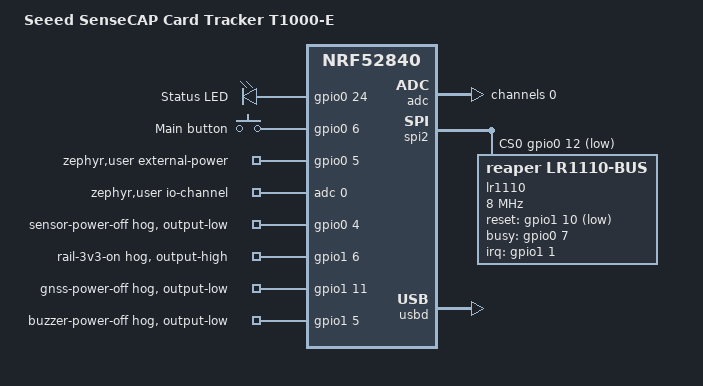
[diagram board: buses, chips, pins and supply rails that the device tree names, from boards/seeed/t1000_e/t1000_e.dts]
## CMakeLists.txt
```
# Zephyr application for the Seeed SenseCAP T1000-E (nRF52840, LR1110), decision D57. It builds the
# portable components and the shared mesh service from firmware/, with T1000-E adapters in src/.
cmake_minimum_required(VERSION 3.20.0)
list(APPEND BOARD_ROOT ${CMAKE_CURRENT_LIST_DIR})
set(BOARD t1000_e)
find_package(Zephyr REQUIRED HINTS $ENV{ZEPHYR_BASE})
project(reaper_t1000_e LANGUAGES C CXX)

set(fw ${CMAKE_CURRENT_LIST_DIR}/..)
set(components ${fw}/components)
target_compile_definitions(app PRIVATE REAPER_T1000_E=1 LR11XX_DISABLE_WARNINGS)
# tools/build-firmware.sh sets this for the desk relay test build only.
if(REAPER_TEST_RELAYED_ONLY)
  target_compile_definitions(app PRIVATE REAPER_TEST_RELAYED_ONLY=1)
endif()
target_sources(app PRIVATE
  src/main.cpp src/t1000e_radio_bus.cpp src/flash_storage.cpp src/key_area.cpp src/board_io.cpp
  src/usb_serial.cpp src/ble_link.cpp src/ble_gatt.c
  ${fw}/app/mesh_service.cpp ${fw}/app/device_ui.cpp
  ${components}/reaper_protocol/protocol.cpp
  ${components}/reaper_device/discovery.cpp ${components}/reaper_device/configuration.cpp
  ${components}/reaper_device/session.cpp ${components}/reaper_device/messages.cpp
  ${components}/reaper_device/inbox.cpp ${components}/reaper_device/host_links.cpp
  ${components}/reaper_device/network.cpp
  ${components}/reaper_mesh/radio_packet.cpp ${components}/reaper_mesh/frame.cpp
  ${components}/reaper_mesh/mesh.cpp ${components}/reaper_mesh/regional.cpp
  ${components}/reaper_radio/lr1110.cpp ${components}/reaper_radio/lr11xx_hal.cpp
  ${components}/reaper_radio/lr11xx/lr11xx_radio.c ${components}/reaper_radio/lr11xx/lr11xx_system.c
  ${components}/reaper_radio/lr11xx/lr11xx_regmem.c
  ${components}/reaper_crypto/crypto_psa.cpp)
target_include_directories(app PRIVATE
  src ${fw}/app
  ${components}/reaper_protocol/include ${components}/reaper_device/include
  ${components}/reaper_mesh/include ${components}/reaper_radio/include
  ${components}/reaper_radio/lr11xx ${components}/reaper_crypto/include)
```

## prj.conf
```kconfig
# Reaper Mesh on the T1000-E. Nothing here logs or prints: USB carries only the host protocol.
CONFIG_CPP=y
CONFIG_STD_CPP17=y
CONFIG_REQUIRES_FULL_LIBCPP=y
CONFIG_MAIN_STACK_SIZE=24576

# USB: one CDC ACM port for the agent, plus the 1200-baud bootloader request.
CONFIG_SERIAL=y
CONFIG_UART_INTERRUPT_DRIVEN=y
CONFIG_UART_LINE_CTRL=y
CONFIG_USB_DEVICE_STACK_NEXT=y
CONFIG_USBD_CDC_ACM_CLASS=y
CONFIG_CDC_ACM_SERIAL_INITIALIZE_AT_BOOT=y
CONFIG_CDC_ACM_SERIAL_MANUFACTURER_STRING="Reaper Mesh"
CONFIG_CDC_ACM_SERIAL_PRODUCT_STRING="Reaper Mesh T1000-E"
CONFIG_CONSOLE=n
CONFIG_UART_CONSOLE=n
CONFIG_LOG=n

# Board hardware.
CONFIG_SPI=y
CONFIG_ADC=y
CONFIG_GPIO_HOGS=y
CONFIG_HWINFO=y
CONFIG_ENTROPY_GENERATOR=y
CONFIG_REBOOT=y

# Storage: settings in NVS, the key record in its own area. The key record is not a whole number
# of 32-bit words.
CONFIG_FLASH=y
CONFIG_FLASH_MAP=y
CONFIG_FLASH_PAGE_LAYOUT=y
CONFIG_NVS=y
CONFIG_SOC_FLASH_NRF_EMULATE_ONE_BYTE_WRITE_ACCESS=y

# Frame encryption through PSA Crypto (components/reaper_crypto/crypto_psa.cpp).
CONFIG_PSA_CRYPTO=y
CONFIG_PSA_WANT_ALG_CCM=y
CONFIG_PSA_WANT_ALG_HMAC=y
CONFIG_PSA_WANT_ALG_SHA_256=y
CONFIG_PSA_WANT_KEY_TYPE_AES=y
CONFIG_PSA_WANT_KEY_TYPE_HMAC=y

# Free heap and stack headroom for the portal debug view.
CONFIG_SYS_HEAP_RUNTIME_STATS=y
CONFIG_INIT_STACKS=y
CONFIG_THREAD_STACK_INFO=y

# Bluetooth (D47): one bonded, passkey-authenticated phone at a time, Secure Connections only.
# The T1000-E has no screen; the portal shows the passkey over USB.
CONFIG_BT=y
CONFIG_BT_PERIPHERAL=y
CONFIG_BT_DEVICE_NAME="Reaper"
CONFIG_BT_MAX_CONN=1
CONFIG_BT_ID_MAX=2
CONFIG_BT_SMP=y
CONFIG_BT_SMP_SC_ONLY=y
CONFIG_BT_SMP_ENFORCE_MITM=y
CONFIG_BT_SMP_APP_PAIRING_ACCEPT=y
CONFIG_BT_APP_PASSKEY=y
CONFIG_BT_BONDABLE=y
CONFIG_BT_MAX_PAIRED=4
CONFIG_BT_KEYS_OVERWRITE_OLDEST=n
CONFIG_BT_SETTINGS=y
CONFIG_SETTINGS=y
CONFIG_SETTINGS_NVS=y
CONFIG_BT_L2CAP_TX_MTU=247
CONFIG_BT_BUF_ACL_RX_SIZE=251
CONFIG_BT_BUF_ACL_TX_SIZE=251
CONFIG_BT_CTLR_DATA_LENGTH_MAX=251
CONFIG_BT_GATT_CLIENT=n
# LE Secure Connections pairing runs P-256 ECDH and AES-CMAC (PSA Crypto) on the Bluetooth work
# queues. Zephyr's default stacks (1,200 and 1,400 bytes) overflow during pairing, which halted the
# board. These sizes paired a phone on the T1000-E (November 17, 2026).
CONFIG_BT_RX_STACK_SIZE=6144
CONFIG_BT_LONG_WQ_STACK_SIZE=6144
CONFIG_SYSTEM_WORKQUEUE_STACK_SIZE=4096

# Any fatal error restarts the board instead of halting it until someone resets it.
CONFIG_RESET_ON_FATAL_ERROR=y
```

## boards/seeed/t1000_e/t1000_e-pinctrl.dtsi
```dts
/* SPI to the LR1110: SCK P0.11, MOSI P1.09, MISO P1.08. */
&pinctrl {
	spi2_default: spi2_default {
		group1 {
			psels = <NRF_PSEL(SPIM_SCK, 0, 11)>,
				<NRF_PSEL(SPIM_MOSI, 1, 9)>,
				<NRF_PSEL(SPIM_MISO, 1, 8)>;
		};
	};

	spi2_sleep: spi2_sleep {
		group1 {
			psels = <NRF_PSEL(SPIM_SCK, 0, 11)>,
				<NRF_PSEL(SPIM_MOSI, 1, 9)>,
				<NRF_PSEL(SPIM_MISO, 1, 8)>;
			low-power-enable;
		};
	};
};
```

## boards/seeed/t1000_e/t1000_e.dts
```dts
/*
 * Seeed SenseCAP Card Tracker T1000-E: nRF52840 with a Semtech LR1110, the factory Adafruit nRF52
 * UF2 bootloader and SoftDevice S140 v7. Pins follow Seeed's T1000-E reference firmware; see
 * docs/guides/hardware.md. GNSS, the accelerometer, the light and temperature sensors and the
 * buzzer are not used, and their power stays off.
 */

/dts-v1/;
#include <nordic/nrf52840_qiaa.dtsi>
#include <zephyr/dt-bindings/adc/nrf-saadc.h>
#include "t1000_e-pinctrl.dtsi"

/ {
	model = "Seeed SenseCAP Card Tracker T1000-E";
	compatible = "seeed,t1000-e";

	chosen {
		zephyr,sram = &sram0;
		zephyr,flash = &flash0;
		zephyr,code-partition = &code_partition;
	};

	leds {
		compatible = "gpio-leds";

		led0: led_0 {
			gpios = <&gpio0 24 GPIO_ACTIVE_HIGH>;
			label = "Status LED";
		};
	};

	buttons {
		compatible = "gpio-keys";

		button0: button_0 {
			gpios = <&gpio0 6 (GPIO_PULL_DOWN | GPIO_ACTIVE_HIGH)>;
			label = "Main button";
			zephyr,code = <INPUT_KEY_0>;
		};
	};

	/* Board signals read by the firmware. */
	zephyr,user {
		/* Battery: P0.02 (AIN0) behind a 2:1 divider. */
		io-channels = <&adc 0>;
		/* High while USB power is present. */
		external-power-gpios = <&gpio0 5 GPIO_ACTIVE_HIGH>;
	};

	aliases {
		led0 = &led0;
		sw0 = &button0;
	};
};

&gpiote {
	status = "okay";
};

&gpio0 {
	status = "okay";

	/* Sensor rail off: the light and temperature sensors are not used. */
	sensor-power-off {
		gpio-hog;
		gpios = <4 GPIO_ACTIVE_HIGH>;
		output-low;
	};
};

&gpio1 {
	status = "okay";

	/* The board's 3.3 V rail on, as Seeed's and RIOT's board code do at boot. */
	rail-3v3-on {
		gpio-hog;
		gpios = <6 GPIO_ACTIVE_HIGH>;
		output-high;
	};

	/* GNSS power off: GPS is deferred (see AI.md). */
	gnss-power-off {
		gpio-hog;
		gpios = <11 GPIO_ACTIVE_HIGH>;
		output-low;
	};

	/* Buzzer power off. */
	buzzer-power-off {
		gpio-hog;
		gpios = <5 GPIO_ACTIVE_HIGH>;
		output-low;
	};
};

&adc {
	status = "okay";
	#address-cells = <1>;
	#size-cells = <0>;

	channel@0 {
		reg = <0>;
		zephyr,gain = "ADC_GAIN_1_6";
		zephyr,reference = "ADC_REF_INTERNAL";
		zephyr,vref-mv = <600>;
		zephyr,acquisition-time = <ADC_ACQ_TIME(ADC_ACQ_TIME_MICROSECONDS, 40)>;
		zephyr,input-positive = <NRF_SAADC_AIN0>;
		zephyr,resolution = <12>;
	};
};

&spi2 {
	compatible = "nordic,nrf-spim";
	status = "okay";
	cs-gpios = <&gpio0 12 GPIO_ACTIVE_LOW>;
	pinctrl-0 = <&spi2_default>;
	pinctrl-1 = <&spi2_sleep>;
	pinctrl-names = "default", "sleep";

	lr1110: lr1110@0 {
		compatible = "reaper,lr1110-bus";
		reg = <0>;
		spi-max-frequency = <DT_FREQ_M(8)>;
		reset-gpios = <&gpio1 10 GPIO_ACTIVE_LOW>;
		busy-gpios = <&gpio0 7 GPIO_ACTIVE_HIGH>;
		irq-gpios = <&gpio1 1 GPIO_ACTIVE_HIGH>;
	};
};

&flash0 {
	/*
	 * 0x00000 SoftDevice S140 v7, kept for the bootloader      (156 KB)
	 * 0x27000 Reaper Mesh application                           (748 KB)
	 * 0xe2000 reaper_nvs: settings and the boot counter          (16 KB)
	 * 0xe6000 reaper_keys: the network key record, 2 sectors      (8 KB)
	 * 0xe8000 storage: Bluetooth bonds and identity               (8 KB)
	 * 0xea000 left alone: the bootloader reserves it for app data (40 KB)
	 * 0xf4000 UF2 bootloader                                      (48 KB)
	 *
	 * The bootloader's serial update erases only the pages the new image needs, from 0x27000, so
	 * the data areas survive updates. A first install sends an image padded with 0xff up to
	 * 0xea000 instead, which blanks them; nothing above 0xea000 can be written that way.
	 */
	partitions {
		ranges;
		#address-cells = <1>;
		#size-cells = <1>;

		softdevice_partition: partition@0 {
			compatible = "zephyr,mapped-partition";
			label = "softdevice";
			reg = <0x00000000 0x00027000>;
			read-only;
		};

		code_partition: partition@27000 {
			compatible = "zephyr,mapped-partition";
			label = "code";
			reg = <0x00027000 0x000bb000>;
		};

		reaper_nvs_partition: partition@e2000 {
			compatible = "zephyr,mapped-partition";
			label = "reaper_nvs";
			reg = <0x000e2000 0x00004000>;
		};

		reaper_keys_partition: partition@e6000 {
			compatible = "zephyr,mapped-partition";
			label = "reaper_keys";
			reg = <0x000e6000 0x00002000>;
		};

		storage_partition: partition@e8000 {
			compatible = "zephyr,mapped-partition";
			label = "storage";
			reg = <0x000e8000 0x00002000>;
		};

		boot_partition: partition@f4000 {
			compatible = "zephyr,mapped-partition";
			label = "uf2";
			reg = <0x000f4000 0x0000c000>;
			read-only;
		};
	};
};

zephyr_udc0: &usbd {
	compatible = "nordic,nrf-usbd";
	status = "okay";

	cdc_acm_uart: cdc_acm_uart {
		compatible = "zephyr,cdc-acm-uart";
	};
};
```

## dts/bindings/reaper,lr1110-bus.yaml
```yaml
description: |
  SPI link to a Semtech LR1110 for Reaper Mesh's own driver (firmware/components/reaper_radio).
  It is not Zephyr's LoRa driver; only the wiring is described here.

compatible: 'reaper,lr1110-bus'

include: spi-device.yaml

properties:
  reset-gpios:
    type: phandle-array
    required: true
  busy-gpios:
    type: phandle-array
    required: true
  irq-gpios:
    type: phandle-array
    required: true
```

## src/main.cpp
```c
// T1000-E entry point (D57): the same session, host links and mesh service as the ESP boards,
// on Zephyr. There is no screen; the LED, the button gestures and the portal show the state.
#include "ble_link.hpp"
#include "board_input.hpp"
#include "board_led.hpp"
#include "board_power.hpp"
#include "device_ui.hpp"
#include "flash_storage.hpp"
#include "key_area.hpp"
#include "mesh_service.hpp"
#include "reaper/host_links.hpp"
#include "reaper/session.hpp"
#include "usb_serial.hpp"
#include <zephyr/drivers/entropy.h>
#include <zephyr/drivers/hwinfo.h>
#include <zephyr/kernel.h>
#include <zephyr/sys/reboot.h>
#include <zephyr/sys/sys_heap.h>
#include <hal/nrf_power.h>
#include <array>
#include <cstdio>
#include <cstring>

// Zephyr's libc heap statistics (lib/libc/common); it has no public header.
extern "C" int malloc_runtime_stats_get(sys_memory_stats* stats);

namespace d = reaper::device;
// If the main loop stops for 30 seconds, a timer interrupt restarts the board, like the ESP boards'
// watchdog. Nothing in the loop should wait that long; this keeps a fault from leaving the T1000-E
// unreachable until someone resets it.
namespace {
volatile std::uint32_t heartbeat = 0;
void check_loop(k_timer*) {
  static std::uint32_t last = 0, stalled = 0;
  if (heartbeat != last) {
    last = heartbeat;
    stalled = 0;
  } else if (++stalled >= 30) {
    sys_reboot(SYS_REBOOT_COLD);
  }
}
K_TIMER_DEFINE(loop_timer, check_loop, nullptr);
}  // namespace
namespace {
UsbSerial usb;
BleLink ble;
bool write_link(d::HostLink link, const std::uint8_t* data, std::size_t size, void*) {
  return link == d::HostLink::Ble ? ble.write(data, size) : usb.write(data, size);
}
std::uint64_t now_ms() {
  return static_cast<std::uint64_t>(k_uptime_get());
}
[[noreturn]] void halt() {
  for (;;)
    k_sleep(K_SECONDS(1));
}
// The Adafruit nRF52 bootloader starts its serial DFU mode after a reset with this retained value.
// That is what the browser installer talks to, and what other nRF52 firmware's 1200-baud reset
// opens, so the installer works the same whatever the T1000-E was running.
[[noreturn]] void enter_bootloader() {
  nrf_power_gpregret_set(NRF_POWER, 0, 0x4e);
  sys_reboot(SYS_REBOOT_COLD);
  halt();
}
bool random_bytes(std::uint8_t* out, std::size_t size) {
  const device* entropy = DEVICE_DT_GET(DT_CHOSEN(zephyr_entropy));
  return device_is_ready(entropy) &&
         entropy_get_entropy(entropy, out, static_cast<std::uint16_t>(size)) == 0;
}
}  // namespace

int main() {
  k_timer_start(&loop_timer, K_SECONDS(1), K_SECONDS(1));
  if (!usb.begin())
    halt();
  // The nRF52840's hardware random generator; no radio is running yet.
  std::array<std::uint8_t, 16> random{};
  reaper::crypto::Key nonce_seed{};
  if (!random_bytes(random.data(), random.size()) ||
      !random_bytes(nonce_seed.data(), nonce_seed.size()))
    halt();
  char boot_string[33]{};
  for (std::size_t i = 0; i < random.size(); ++i)
    std::snprintf(boot_string + 2 * i, 3, "%02x", random[i]);
  // The node ID: 48 bits of the chip's factory device ID. Bluetooth advertises a separate random
  // address, so the radio's identity is not broadcast over Bluetooth.
  std::array<std::uint8_t, 8> id{};
  if (hwinfo_get_device_id(id.data(), id.size()) < 6)
    halt();
  std::uint64_t node = 0;
  for (std::size_t i = 0; i < 6; ++i)
    node = (node << 8) | id[i];
  char device_string[32]{};
  std::snprintf(device_string, sizeof(device_string), "node-0000%012llx",
                static_cast<unsigned long long>(node));
  d::Text<64> boot{}, device{};
  boot.assign(reinterpret_cast<const std::uint8_t*>(boot_string), 32);
  device.assign(reinterpret_cast<const std::uint8_t*>(device_string), std::strlen(device_string));

  static FlashStorage storage;
  static d::Configuration authority(storage, boot);
  std::uint32_t first_boot = 1;
  for (unsigned i = 0; i < 4; ++i)
    first_boot |= std::uint32_t(random[i]) << (i * 8);
  const auto boot_counter = storage.next_boot_counter(first_boot & 0x7fffffff);
  static d::MessageQueue messages(d::boot_identity(boot_counter));
  static d::Inbox inbox;
  static d::RadioInfo radio_info;
  static BoardInput buttons;
  buttons.begin();
  static BoardLed status_led;
  status_led.begin();
  static BoardPower power;
  static reaper::ui::Indicator indicator;
  static reaper::ui::ButtonGestures gestures;
  bool led_enabled = false;
  static KeyArea key_area;
  static d::Network network(key_area);
  // A missing or unreadable key area leaves the radio with no network, which keeps it silent.
  if (key_area.begin())
    network.begin();
  static MeshService mesh(messages, inbox, radio_info, network, device, boot_counter, nonce_seed,
                          node,
                          reaper::board::kUsBandOwnerConfirmed && reaper::board::kAntennaVerified);
  static d::Session session(authority, device, boot, &messages, &radio_info, &inbox,
                            &mesh.discovery(), &ble, &network);
  static d::HostLinks links(session, write_link, nullptr);
  mesh.begin();
  ble.begin();
  std::array<std::uint8_t, 256> input{};
  for (;;) {
    const auto now = now_ms();
    session.tick(now);
    if (usb.bootloader_requested())
      enter_bootloader();
    if (usb.take_closed())
      links.closed(d::HostLink::Usb);
    for (;;) {
      const auto size = usb.read(input.data(), input.size());
      if (!size)
        break;
      links.feed(d::HostLink::Usb, input.data(), size, now_ms());
    }
    links.tick(now_ms());
    ble.tick(now_ms(), links);
    d::Snapshot current{};
    const bool storage_ok = authority.snapshot(current);
    const auto mesh_now = now_ms();
    mesh.tick(storage_ok ? &current : nullptr, mesh_now, links.attached(mesh_now));
    // Free bytes in the libc heap (used by PSA Crypto and Bluetooth), and this thread's unused
    // stack.
    sys_memory_stats heap{};
    if (malloc_runtime_stats_get(&heap) == 0)
      radio_info.heap_free = static_cast<std::uint32_t>(heap.free_bytes);
    std::size_t unused = 0;
    if (k_thread_stack_space_get(k_current_get(), &unused) == 0)
      radio_info.stack_free = static_cast<std::uint32_t>(unused);
    const auto at = now_ms();
    const auto press = gestures.sample(buttons.main_pressed(), at);
    if (press == reaper::ui::Press::PairHold)
      ble.hold(at);
    else if (press == reaper::ui::Press::ForgetHold)
      ble.forget(at);
    if (storage_ok)
      led_enabled = current.settings.led;
    reaper::ui::Indicator::Input led_input;
    led_input.enabled = led_enabled;
    led_input.activity = static_cast<std::uint32_t>(radio_info.transmitted + radio_info.received);
    led_input.latest = inbox.latest();
    led_input.seen = press != reaper::ui::Press::None || links.attached(at);
    status_led.set(indicator.update(led_input, at));
    (void)power.read(at);
    heartbeat = heartbeat + 1;
    k_msleep(2);  // The radio is polled; this keeps the loop responsive without spinning.
  }
}
```

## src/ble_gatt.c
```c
/*
 * The Reaper GATT service and Bluetooth stack callbacks for the T1000-E (D47). Zephyr's GATT
 * macros are C only, so the declarations live here and every event is forwarded to
 * ble_link.cpp, which holds the rules. The UUIDs and permissions match app/ble_link.cpp:
 * 5d7e00NN-8b3a-4f6c-9e21-3c1a7f42b9d0 with 01 service, 02 host to device, 03 device to host and
 * 04 a protected read that makes a client pair before it starts a session.
 */
#include "ble_gatt.h"
#include <zephyr/bluetooth/bluetooth.h>
#include <zephyr/bluetooth/conn.h>
#include <zephyr/bluetooth/gatt.h>
#include <zephyr/bluetooth/uuid.h>

#define REAPER_UUID(id) \
  BT_UUID_128_ENCODE(0x5d7e0000 | (id), 0x8b3a, 0x4f6c, 0x9e21, 0x3c1a7f42b9d0)

static const struct bt_uuid_128 service_uuid = BT_UUID_INIT_128(REAPER_UUID(1));
static const struct bt_uuid_128 input_uuid = BT_UUID_INIT_128(REAPER_UUID(2));
static const struct bt_uuid_128 output_uuid = BT_UUID_INIT_128(REAPER_UUID(3));
static const struct bt_uuid_128 pair_uuid = BT_UUID_INIT_128(REAPER_UUID(4));
const uint8_t reaper_ble_service_uuid[16] = {
    BT_UUID_128_ENCODE(0x5d7e0001, 0x8b3a, 0x4f6c, 0x9e21, 0x3c1a7f42b9d0)};

static ssize_t on_write(struct bt_conn* conn, const struct bt_gatt_attr* attr, const void* buf,
                        uint16_t len, uint16_t offset, uint8_t flags) {
  ARG_UNUSED(attr);
  ARG_UNUSED(flags);
  if (offset != 0U) {
    return BT_GATT_ERR(BT_ATT_ERR_INVALID_OFFSET);
  }
  /* The permissions already demand this; the check keeps the rule in one visible place. */
  if (!reaper_ble_trusted(conn)) {
    return BT_GATT_ERR(BT_ATT_ERR_AUTHENTICATION);
  }
  /* Reject a whole write without consuming any of it when there is no room: the peer can
   * retry, and congestion is not an authentication failure.
   */
  if (!reaper_ble_on_write(buf, len)) {
    return BT_GATT_ERR(BT_ATT_ERR_INSUFFICIENT_RESOURCES);
  }
  return len;
}

static ssize_t on_read(struct bt_conn* conn, const struct bt_gatt_attr* attr, void* buf,
                       uint16_t len, uint16_t offset) {
  static const uint8_t version = 1U;

  if (!reaper_ble_trusted(conn)) {
    return BT_GATT_ERR(BT_ATT_ERR_AUTHENTICATION);
  }
  return bt_gatt_attr_read(conn, attr, buf, len, offset, &version, sizeof(version));
}

static void on_subscribe(const struct bt_gatt_attr* attr, uint16_t value) {
  ARG_UNUSED(attr);
  reaper_ble_on_subscribe(value == BT_GATT_CCC_NOTIFY);
}

BT_GATT_SERVICE_DEFINE(reaper_service, BT_GATT_PRIMARY_SERVICE(&service_uuid),
                       BT_GATT_CHARACTERISTIC(&input_uuid.uuid, BT_GATT_CHRC_WRITE,
                                              BT_GATT_PERM_WRITE_AUTHEN | BT_GATT_PERM_WRITE_LESC,
                                              NULL, on_write, NULL),
                       BT_GATT_CHARACTERISTIC(&output_uuid.uuid, BT_GATT_CHRC_NOTIFY,
                                              BT_GATT_PERM_NONE, NULL, NULL, NULL),
                       BT_GATT_CCC(on_subscribe, BT_GATT_PERM_READ | BT_GATT_PERM_WRITE_AUTHEN),
                       BT_GATT_CHARACTERISTIC(&pair_uuid.uuid, BT_GATT_CHRC_READ,
                                              BT_GATT_PERM_READ_AUTHEN | BT_GATT_PERM_READ_LESC,
                                              on_read, NULL, NULL));

int reaper_ble_notify(struct bt_conn* conn, const uint8_t* data, uint16_t size) {
  return bt_gatt_notify(conn, &reaper_service.attrs[3], data, size);
}

bool reaper_ble_subscribed(struct bt_conn* conn) {
  return bt_gatt_is_subscribed(conn, &reaper_service.attrs[3], BT_GATT_CCC_NOTIFY);
}

static void connected(struct bt_conn* conn, uint8_t err) {
  if (err == 0U) {
    reaper_ble_on_connected(conn);
  }
}

static void disconnected(struct bt_conn* conn, uint8_t reason) {
  reaper_ble_on_disconnected(conn, reason);
}

static void security_changed(struct bt_conn* conn, bt_security_t level, enum bt_security_err err) {
  ARG_UNUSED(level);
  reaper_ble_on_security(conn, err == BT_SECURITY_ERR_SUCCESS);
}

BT_CONN_CB_DEFINE(reaper_conn_callbacks) = {
    .connected = connected,
    .disconnected = disconnected,
    .security_changed = security_changed,
};

/* Without physical access nobody sees a passkey, so pairing is refused unless the window is
 * open. Display-only I/O with Secure Connections only means Just Works cannot complete.
 */
static enum bt_security_err pairing_accept(struct bt_conn* conn,
                                           const struct bt_conn_pairing_feat* const feat) {
  ARG_UNUSED(conn);
  ARG_UNUSED(feat);
  return reaper_ble_window_open() ? BT_SECURITY_ERR_SUCCESS : BT_SECURITY_ERR_PAIR_NOT_ALLOWED;
}

static void passkey_display(struct bt_conn* conn, unsigned int passkey) {
  ARG_UNUSED(conn);
  reaper_ble_on_passkey(passkey);
}

static uint32_t app_passkey(struct bt_conn* conn) {
  ARG_UNUSED(conn);
  return reaper_ble_new_passkey();
}

static void cancel(struct bt_conn* conn) {
  reaper_ble_on_pairing_done(conn, false);
}

static void pairing_complete(struct bt_conn* conn, bool bonded) {
  reaper_ble_on_pairing_done(conn, bonded);
}

static void pairing_failed(struct bt_conn* conn, enum bt_security_err reason) {
  ARG_UNUSED(reason);
  reaper_ble_on_pairing_done(conn, false);
}

static struct bt_conn_auth_cb auth_callbacks = {
    .pairing_accept = pairing_accept,
    .passkey_display = passkey_display,
    .cancel = cancel,
    .app_passkey = app_passkey,
};

static struct bt_conn_auth_info_cb auth_info_callbacks = {
    .pairing_complete = pairing_complete,
    .pairing_failed = pairing_failed,
};

int reaper_ble_register(void) {
  int err = bt_conn_auth_cb_register(&auth_callbacks);

  if (err == 0) {
    err = bt_conn_auth_info_cb_register(&auth_info_callbacks);
  }
  return err;
}
```

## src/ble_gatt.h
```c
#pragma once
#include <stdbool.h>
#include <stddef.h>
#include <stdint.h>
/* Glue between the C GATT declarations (ble_gatt.c) and the link logic (ble_link.cpp). */
#ifdef __cplusplus
extern "C" {
#endif
struct bt_conn;
extern const uint8_t reaper_ble_service_uuid[16];
int reaper_ble_register(void);
int reaper_ble_notify(struct bt_conn* conn, const uint8_t* data, uint16_t size);
bool reaper_ble_subscribed(struct bt_conn* conn);
/* Implemented in ble_link.cpp; called from the Bluetooth stack's threads. */
bool reaper_ble_trusted(struct bt_conn* conn);
bool reaper_ble_on_write(const void* data, uint16_t size);
void reaper_ble_on_subscribe(bool enabled);
void reaper_ble_on_connected(struct bt_conn* conn);
void reaper_ble_on_disconnected(struct bt_conn* conn, uint8_t reason);
void reaper_ble_on_security(struct bt_conn* conn, bool ok);
bool reaper_ble_window_open(void);
void reaper_ble_on_passkey(unsigned int passkey);
uint32_t reaper_ble_new_passkey(void);
void reaper_ble_on_pairing_done(struct bt_conn* conn, bool bonded);
#ifdef __cplusplus
}
#endif
```

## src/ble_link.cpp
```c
// Secure Bluetooth link for the T1000-E (D47), on Zephyr's Bluetooth host. The rules match
// app/ble_link.cpp on the ESP boards: the stack stays off until the first physical pairing, a new
// pairing needs the window opened by a button hold or the portal over USB, the passkey is drawn
// without bias, and only a bonded, passkey-authenticated phone can reach the host protocol. The
// T1000-E has no screen, so the passkey is shown in the portal over USB.
#include "ble_link.hpp"
#include "ble_gatt.h"
#include "ble_io.hpp"
#include "reaper/pairing.hpp"
#include <zephyr/bluetooth/bluetooth.h>
#include <zephyr/bluetooth/conn.h>
#include <zephyr/bluetooth/gatt.h>
#include <zephyr/drivers/entropy.h>
#include <zephyr/kernel.h>
#include <zephyr/settings/settings.h>
#include <zephyr/sys/ring_buffer.h>
#include <algorithm>
#include <array>
#include <atomic>
#include <cstdio>
#include <cstring>

namespace d = reaper::device;
namespace ui = reaper::ui;
namespace {
// Identity 0 is the chip's factory address and is never used; identity 1 is a random static
// address that "forget" replaces, so a forgotten phone cannot recognize this device.
constexpr std::uint8_t kId = 1;
constexpr std::size_t kMaxChunk = 244;
constexpr std::uint64_t kNoticeMs = 5000;
constexpr std::size_t kReplyReserve = 2 * (reaper::protocol::kMaxEncoded + 1);
RING_BUF_DECLARE(input, 4096);
RING_BUF_DECLARE(output, 8192);

K_MUTEX_DEFINE(connection_lock);
bt_conn* connection = nullptr;  // Guarded by connection_lock; holds a reference.
std::atomic<bool> trusted{false}, subscribed{false}, connected_event{false}, closed_event{false};
std::atomic<bool> paired_event{false}, failed_event{false}, window_open{false};
std::atomic<int> shown_passkey{-1}, disconnect_reason{0}, notify_error{0};
std::atomic<std::size_t> bond_count{0};

bool available = true, started = false;
d::PairingWindow window;
std::uint64_t connected_at = 0, unavailable_until = 0;
char advertised_name[16] = "Reaper";
enum class Advertising { Off, Paired, Pairing } advertising = Advertising::Off;
// Owned by the send work item (pump below) while a link is up.
std::array<std::uint8_t, kMaxChunk> pending{};
std::size_t pending_size = 0;
std::int64_t blocked_since = -1;
std::atomic<bool> output_fault{false};

bt_conn* take_connection() {
  k_mutex_lock(&connection_lock, K_FOREVER);
  bt_conn* conn = connection ? bt_conn_ref(connection) : nullptr;
  k_mutex_unlock(&connection_lock);
  return conn;
}
void count_bond(const bt_bond_info*, void* count) {
  ++*static_cast<std::size_t*>(count);
}
void update_bonds() {
  std::size_t count = 0;
  bt_foreach_bond(kId, count_bond, &count);
  bond_count = count;
}
struct BondSearch {
  const bt_addr_le_t* peer;
  bool found;
};
void find_bond(const bt_bond_info* info, void* search) {
  auto& s = *static_cast<BondSearch*>(search);
  s.found = s.found || bt_addr_le_eq(&info->addr, s.peer);
}
d::LinkSecurity security(bt_conn* conn) {
  bt_conn_info info{};
  if (!conn || bt_conn_get_info(conn, &info) != 0 || info.id != kId)
    return {};
  BondSearch search{bt_conn_get_dst(conn), false};
  bt_foreach_bond(kId, find_bond, &search);
  const auto level = bt_conn_get_security(conn);
  return {level >= BT_SECURITY_L2, level >= BT_SECURITY_L3, search.found,
          bt_conn_enc_key_size(conn)};
}
void refuse(bt_conn* conn) {
  bt_conn_disconnect(conn, BT_HCI_ERR_AUTH_FAIL);
}
void update_name() {
  bt_addr_le_t addresses[CONFIG_BT_ID_MAX]{};
  std::size_t count = CONFIG_BT_ID_MAX;
  bt_id_get(addresses, &count);
  if (count > kId)
    std::snprintf(advertised_name, sizeof(advertised_name), "Reaper-%02X%02X",
                  addresses[kId].a.val[1], addresses[kId].a.val[0]);
}
// Stored bonds are read straight from settings, so the stack is not started just to find none.
int note_bond(const char*, std::size_t, settings_read_cb, void*, void* found) {
  *static_cast<bool*>(found) = true;
  return 1;  // Stop at the first.
}
bool has_bonds() {
  bool found = false;
  settings_load_subtree_direct("bt/keys", note_bond, &found);
  return found;
}
bool start_stack() {
  if (started)
    return true;
  if (!available)
    return false;
  if (bt_enable(nullptr) != 0 || settings_load() != 0 || reaper_ble_register() != 0) {
    available = false;
    return false;
  }
  std::size_t count = CONFIG_BT_ID_MAX;
  bt_addr_le_t addresses[CONFIG_BT_ID_MAX]{};
  bt_id_get(addresses, &count);
  if (count <= kId && bt_id_create(nullptr, nullptr) != kId) {
    available = false;
    return false;
  }
  update_name();
  update_bonds();
  started = true;
  return true;
}
void advertise() {
  bt_conn* conn = take_connection();
  const auto want = conn             ? Advertising::Off
                    : window.open()  ? Advertising::Pairing
                    : bond_count > 0 ? Advertising::Paired
                                     : Advertising::Off;
  if (conn)
    bt_conn_unref(conn);
  if (want == advertising)
    return;
  bt_le_adv_stop();
  advertising = want;
  if (want == Advertising::Off)
    return;
  static const std::uint8_t flags = BT_LE_AD_GENERAL | BT_LE_AD_NO_BREDR;
  const bt_data ad[] = {{BT_DATA_FLAGS, 1, &flags},
                        {BT_DATA_UUID128_ALL, 16, reaper_ble_service_uuid}};
  // The short random name appears only while the window is open; it is not the node ID.
  const bt_data sd[] = {{BT_DATA_NAME_COMPLETE,
                         static_cast<std::uint8_t>(std::strlen(advertised_name)),
                         reinterpret_cast<const std::uint8_t*>(advertised_name)}};
  bt_le_adv_param params{};
  params.id = kId;
  params.options = BT_LE_ADV_OPT_CONN;
  params.interval_min = params.interval_max = want == Advertising::Pairing ? 160 : 1600;
  if (bt_le_adv_start(&params, ad, ARRAY_SIZE(ad), want == Advertising::Pairing ? sd : nullptr,
                      want == Advertising::Pairing ? 1 : 0) != 0)
    advertising = Advertising::Off;  // Tried again on the next tick.
}
// Notifications are sent from the system work queue, where Zephyr never waits for a buffer: it
// returns -ENOMEM and this runs again shortly. From any other thread bt_gatt_notify() waits forever
// for one, which could stall the main loop and with it USB and the radio. The ESP boards' NimBLE
// link is non-blocking for the same reason. The main thread only fills `output`.
void pump(k_work* work);
K_WORK_DELAYABLE_DEFINE(pump_work, pump);
k_work_sync pump_sync;
void pump(k_work*) {
  bt_conn* conn = take_connection();
  if (!conn)
    return;
  const auto now = k_uptime_get();
  for (int sent = 0; sent < 8; ++sent) {
    if (!trusted || !reaper_ble_subscribed(conn))
      break;
    if (!pending_size) {
      const auto mtu = bt_gatt_get_mtu(conn);
      const std::size_t limit = std::min<std::size_t>(kMaxChunk, mtu > 3 ? mtu - 3 : 20);
      pending_size = ring_buf_get(&output, pending.data(), static_cast<std::uint32_t>(limit));
    }
    if (!pending_size)
      break;
    const int error =
        reaper_ble_notify(conn, pending.data(), static_cast<std::uint16_t>(pending_size));
    if (error != 0) {
      notify_error = error;
      if (blocked_since < 0)
        blocked_since = now;
      // Only transient resource errors are retried, and only for five seconds.
      if ((error != -ENOMEM && error != -EAGAIN && error != -ENOBUFS) ||
          now - blocked_since >= 5000)
        output_fault = true;
      else
        k_work_schedule(&pump_work, K_MSEC(10));
      break;
    }
    pending_size = 0;
    blocked_since = -1;
  }
  if (pending_size || ring_buf_size_get(&output))
    k_work_schedule(&pump_work, K_MSEC(pending_size ? 10 : 0));
  bt_conn_unref(conn);
}
}  // namespace

extern "C" {
bool reaper_ble_trusted(bt_conn* conn) {
  return d::link_trusted(security(conn));
}
bool reaper_ble_on_write(const void* data, std::uint16_t size) {
  return reaper::ble::accept(
      static_cast<const std::uint8_t*>(data), size, [] { return ring_buf_space_get(&input); },
      [](const std::uint8_t* bytes, std::size_t count) {
        return static_cast<std::size_t>(
            ring_buf_put(&input, bytes, static_cast<std::uint32_t>(count)));
      });
}
void reaper_ble_on_subscribe(bool enabled) {
  subscribed = enabled;
}
void reaper_ble_on_connected(bt_conn* conn) {
  k_mutex_lock(&connection_lock, K_FOREVER);
  if (!connection) {
    connection = bt_conn_ref(conn);
    connected_event = true;
  }
  k_mutex_unlock(&connection_lock);
}
void reaper_ble_on_disconnected(bt_conn* conn, std::uint8_t reason) {
  k_mutex_lock(&connection_lock, K_FOREVER);
  if (connection == conn) {
    bt_conn_unref(connection);
    connection = nullptr;
    disconnect_reason = reason;
    trusted = subscribed = false;
    closed_event = true;
  }
  k_mutex_unlock(&connection_lock);
}
// Zephyr reports encryption before a new pairing has stored its bond, so a new pairing is judged
// when it completes. Encryption without a pairing in progress reuses stored keys: judge it now.
void reaper_ble_on_security(bt_conn* conn, bool ok) {
  if (shown_passkey >= 0)
    return;
  if (ok && d::link_trusted(security(conn))) {
    trusted = true;
    return;
  }
  refuse(conn);
}
bool reaper_ble_window_open(void) {
  return window_open;
}
void reaper_ble_on_passkey(unsigned int passkey) {
  if (!window_open)
    return;
  shown_passkey = static_cast<int>(passkey);
}
std::uint32_t reaper_ble_new_passkey(void) {
  const device* entropy = DEVICE_DT_GET(DT_CHOSEN(zephyr_entropy));
  std::uint32_t key = 0;
  for (;;) {
    std::uint32_t random = 0;
    if (entropy_get_entropy(entropy, reinterpret_cast<std::uint8_t*>(&random), sizeof(random)) ==
            0 &&
        d::passkey_from_random(random, key))
      return key;
  }
}
void reaper_ble_on_pairing_done(bt_conn* conn, bool bonded) {
  const bool pairing = shown_passkey.exchange(-1) >= 0;
  const auto link = security(conn);
  if (bonded && d::link_trusted(link)) {
    trusted = true;
    if (pairing)
      paired_event = true;
    update_bonds();
    return;
  }
  // Not good enough, for example an unauthenticated bond: keep no keys from it and end the link.
  if (bonded && !link.authenticated)
    bt_unpair(kId, bt_conn_get_dst(conn));
  if (pairing)
    failed_event = true;
  update_bonds();
  refuse(conn);
}
}

void BleLink::begin() {
  // Settings hold only Bluetooth identities and bonds, never device settings.
  available = settings_subsys_init() == 0;
  if (available && has_bonds())
    start_stack();
}
void BleLink::hold(std::uint64_t now) {
  if (!start_stack()) {
    unavailable_until = now + kNoticeMs;
    return;
  }
  update_bonds();
  window.hold(now, bond_count);
  window_open = window.open();
}
void BleLink::forget(std::uint64_t now) {
  window.forgotten(now);
  window_open = false;
  if (!started)
    return;
  if (bt_conn* conn = take_connection()) {
    bt_conn_disconnect(conn, BT_HCI_ERR_REMOTE_USER_TERM_CONN);
    bt_conn_unref(conn);
  }
  bt_le_adv_stop();
  advertising = Advertising::Off;
  bt_unpair(kId, nullptr);
  update_bonds();
  // A new address too, so a forgotten phone cannot recognize this device.
  bt_id_reset(kId, nullptr, nullptr);
  update_name();
}
void BleLink::tick(std::uint64_t now, d::HostLinks& links) {
  window.tick(now);
  if (paired_event.exchange(false))
    window.paired(now);
  if (failed_event.exchange(false))
    window.failed(now);
  window_open = window.open();
  if (!started)
    return;
  if (connected_event.exchange(false))
    connected_at = now;
  if (closed_event.exchange(false)) {
    if (shown_passkey.exchange(-1) >= 0)
      window.failed(now);
    window_open = window.open();
    // Stop the sender before clearing what it owns.
    k_work_cancel_delayable_sync(&pump_work, &pump_sync);
    ring_buf_reset(&input);
    ring_buf_reset(&output);
    pending_size = 0;
    links.closed(d::HostLink::Ble);
    output_fault = false;
    blocked_since = -1;
    advertising = Advertising::Off;  // Connecting stopped it; start it again below.
  }
  if (bt_conn* conn = take_connection()) {
    if (output_fault.exchange(false)) {
      // A permanent notification error cannot be repaired by replaying the same chunk.
      bt_conn_disconnect(conn, BT_HCI_ERR_REMOTE_USER_TERM_CONN);
    } else {
      if (!trusted && now - connected_at > window.connection_deadline())
        refuse(conn);
      reaper::ble::drain(
          [&](std::uint8_t* data, std::size_t) -> std::size_t {
            // Stop before consuming a frame's final byte unless its reply fits.
            if (output_fault || ring_buf_space_get(&output) < kReplyReserve) {
              links.paused(d::HostLink::Ble, now);
              return 0;
            }
            return ring_buf_get(&input, data, 1);
          },
          [&](const std::uint8_t* data, std::size_t size) {
            links.feed(d::HostLink::Ble, data, size, now);
          },
          [] { k_work_schedule(&pump_work, K_NO_WAIT); }, 4096);
    }
    bt_conn_unref(conn);
  }
  advertise();
}
bool BleLink::write(const std::uint8_t* data, std::size_t size) {
  if (!started || !trusted || !subscribed || ring_buf_space_get(&output) < size)
    return false;
  bt_conn* conn = take_connection();
  if (!conn)
    return false;
  bt_conn_unref(conn);
  return ring_buf_put(&output, data, static_cast<std::uint32_t>(size)) == size;
}
ui::BleStatus BleLink::status(std::uint64_t now) const {
  ui::BleStatus status;
  status.disconnect = disconnect_reason;
  status.notify = notify_error;
  status.name = advertised_name;
  status.seconds = window.seconds_left(now);
  if (now < unavailable_until) {
    status.notice = ui::BleNotice::Unavailable;
    return status;
  }
  switch (window.state()) {
    case d::PairingState::Open: {
      const int key = shown_passkey;
      status.notice = key >= 0 ? ui::BleNotice::Passkey : ui::BleNotice::Open;
      status.passkey = key >= 0 ? static_cast<std::uint32_t>(key) : 0;
      break;
    }
    case d::PairingState::Full:
      status.notice = ui::BleNotice::Full;
      break;
    case d::PairingState::Paired:
      status.notice = ui::BleNotice::Paired;
      break;
    case d::PairingState::Failed:
      status.notice = ui::BleNotice::Failed;
      break;
    case d::PairingState::Forgotten:
      status.notice = ui::BleNotice::Forgotten;
      break;
    default:
      break;
  }
  return status;
}
d::PairingView BleLink::view(std::uint64_t now) const {
  d::PairingView view;
  const auto shown = status(now);
  view.seconds = shown.seconds;
  view.bonds = static_cast<std::uint32_t>(bond_count.load());
  switch (shown.notice) {
    case ui::BleNotice::Open:
      view.state = "open";
      view.name = shown.name;
      break;
    case ui::BleNotice::Passkey:
      view.state = "passkey";
      view.name = shown.name;
      view.passkey = static_cast<int>(shown.passkey);
      break;
    case ui::BleNotice::Full:
      view.state = "full";
      break;
    case ui::BleNotice::Paired:
      view.state = "paired";
      break;
    case ui::BleNotice::Failed:
      view.state = "failed";
      break;
    case ui::BleNotice::Forgotten:
      view.state = "forgotten";
      break;
    case ui::BleNotice::Unavailable:
      view.state = "unavailable";
      break;
    default:
      break;
  }
  return view;
}
```

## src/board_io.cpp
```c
// The T1000-E's button, LED and battery reading, behind the shared board interfaces in app/.
#include "board_input.hpp"
#include "board_led.hpp"
#include "board_power.hpp"
#include <zephyr/drivers/adc.h>
#include <zephyr/drivers/gpio.h>
namespace {
const gpio_dt_spec button = GPIO_DT_SPEC_GET(DT_ALIAS(sw0), gpios);
const gpio_dt_spec led = GPIO_DT_SPEC_GET(DT_ALIAS(led0), gpios);
const gpio_dt_spec external = GPIO_DT_SPEC_GET(DT_PATH(zephyr_user), external_power_gpios);
const adc_dt_spec battery = ADC_DT_SPEC_GET(DT_PATH(zephyr_user));
bool button_ok = false, led_ok = false, power_ok = false, adc_ok = false;
}  // namespace

void BoardInput::begin() {
  button_ok = gpio_is_ready_dt(&button) && gpio_pin_configure_dt(&button, GPIO_INPUT) == 0;
}
bool BoardInput::main_pressed() const {
  return button_ok && gpio_pin_get_dt(&button) == 1;
}
// One button, so every screen function is a gesture on it.
bool BoardInput::take_next_page(std::uint64_t) {
  return false;
}

void BoardLed::begin() {
  led_ok = gpio_is_ready_dt(&led) && gpio_pin_configure_dt(&led, GPIO_OUTPUT_INACTIVE) == 0;
}
void BoardLed::set(bool on) {
  if (led_ok && on != on_ && gpio_pin_set_dt(&led, on ? 1 : 0) == 0)
    on_ = on;
}

// Voltage only: the T1000-E has no fuel gauge, so no percentage is invented (see AI.md). The
// battery reaches AIN0 through a 2:1 divider.
Battery BoardPower::read(std::uint64_t now) {
  if (now < next_poll_)
    return last_;
  next_poll_ = now + 2000;
  if (!power_ok) {
    power_ok = true;
    adc_ok = adc_is_ready_dt(&battery) && adc_channel_setup_dt(&battery) == 0;
    if (gpio_is_ready_dt(&external))
      gpio_pin_configure_dt(&external, GPIO_INPUT);
  }
  last_.external = gpio_is_ready_dt(&external) && gpio_pin_get_dt(&external) == 1;
  last_.millivolts = -1;
  std::int16_t sample = 0;
  adc_sequence sequence{};
  sequence.buffer = &sample;
  sequence.buffer_size = sizeof(sample);
  if (adc_ok && adc_sequence_init_dt(&battery, &sequence) == 0 &&
      adc_read_dt(&battery, &sequence) == 0) {
    std::int32_t millivolts = sample < 0 ? 0 : sample;
    if (adc_raw_to_millivolts_dt(&battery, &millivolts) == 0 && millivolts > 0)
      last_.millivolts = static_cast<int>(millivolts * 2);
  }
  return last_;
}
```

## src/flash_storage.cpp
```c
#include "flash_storage.hpp"
#include <zephyr/drivers/flash.h>
#include <zephyr/storage/flash_map.h>
#include <cerrno>
namespace d = reaper::device;
namespace {
constexpr std::uint16_t kConfig = 1, kBoot = 2;
}
FlashStorage::FlashStorage() {
  fs_.flash_device = PARTITION_DEVICE(reaper_nvs_partition);
  fs_.offset = PARTITION_OFFSET(reaper_nvs_partition);
  flash_pages_info page{};
  if (!device_is_ready(fs_.flash_device) ||
      flash_get_page_info_by_offs(fs_.flash_device, fs_.offset, &page) != 0)
    return;
  fs_.sector_size = page.size;
  fs_.sector_count = PARTITION_SIZE(reaper_nvs_partition) / page.size;
  // Never erase on a mount error, as on the ESP boards: preserve the evidence. A fresh install
  // erases this partition (tools/uf2-image.py).
  ready_ = nvs_mount(&fs_) == 0;
}
d::ReadStatus FlashStorage::read(std::uint8_t* output, std::size_t capacity,
                                 std::size_t& size) noexcept {
  size = 0;
  if (!ready_ || !output)
    return d::ReadStatus::Failed;
  const auto stored = nvs_read(&fs_, kConfig, output, 0);
  if (stored == -ENOENT)
    return d::ReadStatus::Missing;
  if (stored <= 0 || static_cast<std::size_t>(stored) > capacity ||
      static_cast<std::size_t>(stored) > d::kMaxRecord)
    return d::ReadStatus::Failed;
  if (nvs_read(&fs_, kConfig, output, static_cast<std::size_t>(stored)) != stored)
    return d::ReadStatus::Failed;
  size = static_cast<std::size_t>(stored);
  return d::ReadStatus::Loaded;
}
std::uint32_t FlashStorage::next_boot_counter(std::uint32_t first) noexcept {
  if (!ready_ || !first)
    return 0;
  std::uint32_t counter = 0;
  const auto stored = nvs_read(&fs_, kBoot, &counter, sizeof(counter));
  if (stored == -ENOENT)
    counter = first;
  else if (stored != sizeof(counter) || counter == 0xffffffff)
    return 0;
  else
    ++counter;
  if (nvs_write(&fs_, kBoot, &counter, sizeof(counter)) != sizeof(counter))
    return 0;
  return counter;
}
d::CommitStatus FlashStorage::commit(const std::uint8_t* data, std::size_t size) noexcept {
  if (!ready_ || !data || size == 0 || size > d::kMaxRecord)
    return d::CommitStatus::NotCommitted;
  // NVS writes a record and then its allocation entry, so a power cut leaves the old record.
  // Zero means the same bytes were already stored.
  const auto written = nvs_write(&fs_, kConfig, data, size);
  if (written != static_cast<ssize_t>(size) && written != 0)
    return d::CommitStatus::Indeterminate;
  return d::CommitStatus::Committed;
}
```

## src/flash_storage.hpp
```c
#pragma once
#include "reaper/configuration.hpp"
#include <zephyr/kvss/nvs.h>
// Settings and the boot counter in Zephyr NVS on the reaper_nvs partition: the T1000-E's
// counterpart of app/nvs_storage.cpp, with the same rules.
class FlashStorage final : public reaper::device::Storage {
 public:
  FlashStorage();
  reaper::device::ReadStatus read(std::uint8_t*, std::size_t, std::size_t&) noexcept override;
  reaper::device::CommitStatus commit(const std::uint8_t*, std::size_t) noexcept override;
  // As NvsStorage::next_boot_counter: zero means it could not be saved and nothing may transmit.
  std::uint32_t next_boot_counter(std::uint32_t first) noexcept;
  bool ready() const { return ready_; }

 private:
  nvs_fs fs_{};
  bool ready_ = false;
};
```

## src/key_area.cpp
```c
#include "key_area.hpp"
namespace {
constexpr std::size_t kSectorBytes = 0x1000;
}
bool KeyArea::begin() {
  if (flash_area_open(PARTITION_ID(reaper_keys_partition), &area_) != 0) {
    area_ = nullptr;
    return false;
  }
  return area_->fa_size >= kSectors * kSectorBytes;
}
bool KeyArea::read(unsigned sector, std::uint8_t* out, std::size_t size) {
  return area_ && sector < kSectors && size <= kSectorBytes &&
         flash_area_read(area_, sector * kSectorBytes, out, size) == 0;
}
bool KeyArea::erase(unsigned sector) {
  return area_ && sector < kSectors &&
         flash_area_erase(area_, sector * kSectorBytes, kSectorBytes) == 0;
}
// The key record is not a whole number of 32-bit words, so the build enables the flash driver's
// byte-write emulation (CONFIG_SOC_FLASH_NRF_EMULATE_ONE_BYTE_WRITE_ACCESS).
bool KeyArea::write(unsigned sector, const std::uint8_t* bytes, std::size_t size) {
  return area_ && sector < kSectors && size <= kSectorBytes &&
         flash_area_write(area_, sector * kSectorBytes, bytes, size) == 0;
}
```

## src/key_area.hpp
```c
#pragma once
#include "reaper/network.hpp"
#include <zephyr/storage/flash_map.h>
// The reaper_keys partition: two flash sectors, explicitly erased rather than log-structured, as
// app/key_partition.cpp does on the ESP boards.
class KeyArea final : public reaper::device::KeySectors {
 public:
  bool begin();
  bool read(unsigned sector, std::uint8_t*, std::size_t) override;
  bool erase(unsigned sector) override;
  bool write(unsigned sector, const std::uint8_t*, std::size_t) override;

 private:
  const flash_area* area_ = nullptr;
};
```

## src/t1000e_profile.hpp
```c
#pragma once
#include "reaper/lr1110.hpp"
namespace reaper::board {
// The owner confirmed this T1000-E is the US/915 MHz unit with its built-in antenna intact
// (2026-11-17). This is a development-unit fact, not validation of other units or a compliance
// claim.
inline constexpr bool kUsBandOwnerConfirmed = true;
inline constexpr bool kAntennaVerified = true;

// LR1110 wiring from Seeed's T1000-E reference firmware: RFSW0-RFSW3 are DIO5-DIO8. Receive uses
// RFSW0 and RFSW3, the high-power PA RFSW1 and RFSW3, the low-power PA all three, and GNSS RFSW2.
//
// TCXO: Seeed's reference code sets 3.0 V while firmware in wide use on this board sets 1.6 V. The
// lower value is used: it cannot overstress the TCXO, and if it were too low the LR1110 would
// report HF_XOSC_START and the radio would stay off with that reason shown, not transmit.
inline constexpr std::uint8_t kSw0 = 1 << 0, kSw1 = 1 << 1, kSw2 = 1 << 2, kSw3 = 1 << 3;
inline constexpr radio::Lr1110Wiring kRadioWiring{
    0x00,  // LR11XX_SYSTEM_TCXO_CTRL_1_6V
    164,   // 5 ms
    kSw0 | kSw1 | kSw2 | kSw3,
    0,                   // standby
    kSw0 | kSw3,         // receive
    kSw0 | kSw1 | kSw3,  // transmit, low-power PA
    kSw1 | kSw3,         // transmit, high-power PA
    0,                   // transmit, 2.4 GHz PA (not wired)
    kSw2,                // GNSS
    0,                   // Wi-Fi scanning
};
}  // namespace reaper::board
```

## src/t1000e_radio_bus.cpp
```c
#include "t1000e_radio_bus.hpp"
#include <zephyr/drivers/gpio.h>
#include <zephyr/drivers/spi.h>
#include <zephyr/kernel.h>
namespace {
#define LR1110 DT_NODELABEL(lr1110)
const spi_dt_spec spi = SPI_DT_SPEC_GET(LR1110, SPI_OP_MODE_CONTROLLER | SPI_WORD_SET(8));
const gpio_dt_spec reset_pin = GPIO_DT_SPEC_GET(LR1110, reset_gpios);
const gpio_dt_spec busy_pin = GPIO_DT_SPEC_GET(LR1110, busy_gpios);
// After reset the LR1110 boots from its own flash before BUSY falls.
constexpr std::uint32_t kBootMs = 500;
}  // namespace
bool RadioBus::begin() {
  started_ = spi_is_ready_dt(&spi) && gpio_is_ready_dt(&reset_pin) && gpio_is_ready_dt(&busy_pin) &&
             gpio_pin_configure_dt(&reset_pin, GPIO_OUTPUT_INACTIVE) == 0 &&
             gpio_pin_configure_dt(&busy_pin, GPIO_INPUT) == 0;
  failed_ = !started_;
  return started_;
}
bool RadioBus::ready(std::uint32_t timeout_ms) {
  if (failed_)
    return false;
  const auto deadline = k_uptime_get() + timeout_ms;
  while (gpio_pin_get_dt(&busy_pin) == 1) {
    if (k_uptime_get() >= deadline) {
      failed_ = true;
      return false;
    }
    k_busy_wait(50);
  }
  return true;
}
bool RadioBus::transfer(const std::uint8_t* tx, std::uint8_t* rx, std::size_t size) {
  if (failed_ || !size)
    return false;
  last_command_ = tx[0] ? tx[0] : tx[size > 1 ? 1 : 0];
  const spi_buf tx_buf{const_cast<std::uint8_t*>(tx), size};
  const spi_buf rx_buf{rx, size};
  const spi_buf_set tx_set{&tx_buf, 1};
  const spi_buf_set rx_set{&rx_buf, 1};
  if (spi_transceive_dt(&spi, &tx_set, &rx_set) != 0) {
    failed_ = true;
    return false;
  }
  return true;
}
bool RadioBus::reset() {
  if (!started_)
    return false;
  failed_ = false;
  if (gpio_pin_set_dt(&reset_pin, 1) != 0)
    return failed_ = true, false;
  k_busy_wait(1000);
  if (gpio_pin_set_dt(&reset_pin, 0) != 0)
    return failed_ = true, false;
  k_msleep(1);
  return ready(kBootMs);
}
// Holds the chip in reset, so it neither receives nor transmits.
void RadioBus::off() {
  if (started_)
    gpio_pin_set_dt(&reset_pin, 1);
}
```
